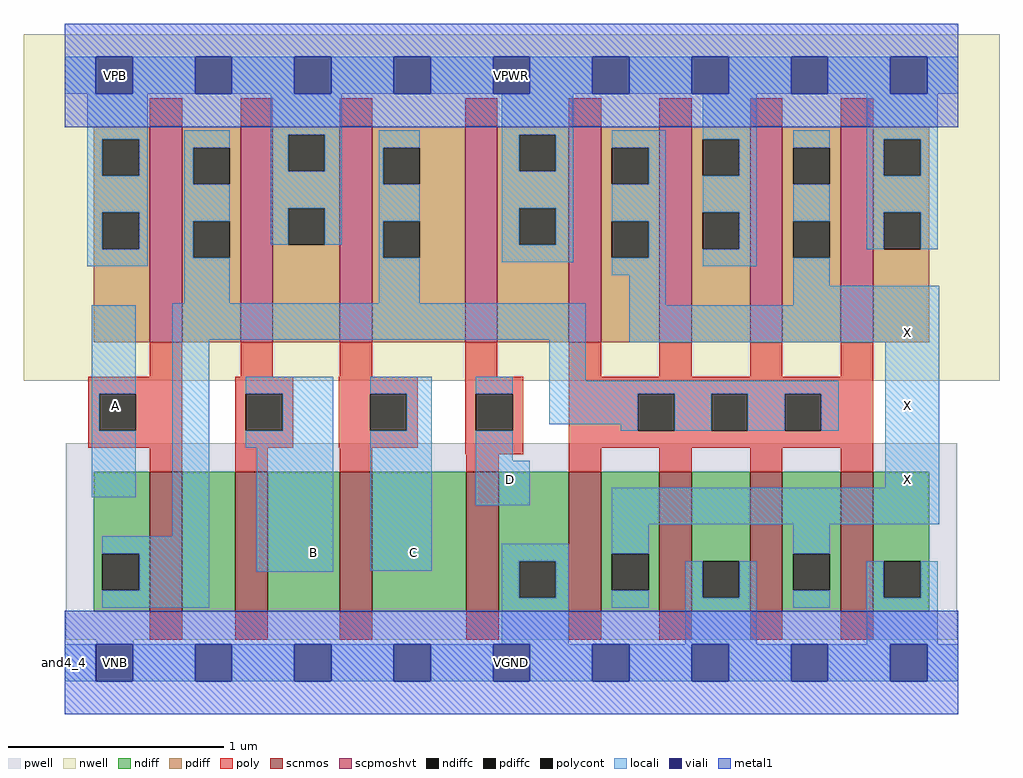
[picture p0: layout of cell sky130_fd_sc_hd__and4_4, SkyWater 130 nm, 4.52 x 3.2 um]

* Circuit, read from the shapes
.subckt sky130_fd_sc_hd__and4_4 A B C D VGND VNB VPB VPWR X
XM1 n1 A n2 VNB sky130_fd_pr__nfet_01v8 w=0.65 l=0.15
XM2 n3 B n1 VNB sky130_fd_pr__nfet_01v8 w=0.65 l=0.15
XM3 n4 C n3 VNB sky130_fd_pr__nfet_01v8 w=0.65 l=0.15
XM4 VGND D n4 VNB sky130_fd_pr__nfet_01v8 w=0.65 l=0.15
XM5 X n2 VGND VNB sky130_fd_pr__nfet_01v8 w=0.65 l=0.15 m=4
XM6 n2 A VPWR VPB sky130_fd_pr__pfet_01v8_hvt w=1 l=0.15
XM7 VPWR B n2 VPB sky130_fd_pr__pfet_01v8_hvt w=1 l=0.15
XM8 n2 C VPWR VPB sky130_fd_pr__pfet_01v8_hvt w=1 l=0.15
XM9 VPWR D n2 VPB sky130_fd_pr__pfet_01v8_hvt w=1 l=0.15
XM10 X n2 VPWR VPB sky130_fd_pr__pfet_01v8_hvt w=1 l=0.15 m=4
.ends

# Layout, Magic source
magic
tech sky130B
magscale 1 2
<< nwell >>
rect -38 261 866 582
<< pwell >>
rect 1 21 827 203
rect 30 -17 64 21
<< scnmos >>
rect 79 47 109 177
rect 158 47 188 177
rect 255 47 285 177
rect 372 47 402 177
rect 467 47 497 177
rect 551 47 581 177
rect 635 47 665 177
rect 719 47 749 177
<< scpmoshvt >>
rect 79 297 109 497
rect 163 297 193 497
rect 255 297 285 497
rect 371 297 401 497
rect 467 297 497 497
rect 551 297 581 497
rect 635 297 665 497
rect 719 297 749 497
<< ndiff >>
rect 27 101 79 177
rect 27 67 35 101
rect 69 67 79 101
rect 27 47 79 67
rect 109 47 158 177
rect 188 47 255 177
rect 285 47 372 177
rect 402 94 467 177
rect 402 60 421 94
rect 455 60 467 94
rect 402 47 467 60
rect 497 101 551 177
rect 497 67 507 101
rect 541 67 551 101
rect 497 47 551 67
rect 581 94 635 177
rect 581 60 591 94
rect 625 60 635 94
rect 581 47 635 60
rect 665 101 719 177
rect 665 67 675 101
rect 709 67 719 101
rect 665 47 719 67
rect 749 94 801 177
rect 749 60 759 94
rect 793 60 801 94
rect 749 47 801 60
<< pdiff >>
rect 27 485 79 497
rect 27 451 35 485
rect 69 451 79 485
rect 27 417 79 451
rect 27 383 35 417
rect 69 383 79 417
rect 27 297 79 383
rect 109 477 163 497
rect 109 443 119 477
rect 153 443 163 477
rect 109 409 163 443
rect 109 375 119 409
rect 153 375 163 409
rect 109 297 163 375
rect 193 489 255 497
rect 193 455 207 489
rect 241 455 255 489
rect 193 421 255 455
rect 193 387 207 421
rect 241 387 255 421
rect 193 297 255 387
rect 285 477 371 497
rect 285 443 295 477
rect 329 443 371 477
rect 285 409 371 443
rect 285 375 295 409
rect 329 375 371 409
rect 285 297 371 375
rect 401 489 467 497
rect 401 455 421 489
rect 455 455 467 489
rect 401 421 467 455
rect 401 387 421 421
rect 455 387 467 421
rect 401 297 467 387
rect 497 477 551 497
rect 497 443 507 477
rect 541 443 551 477
rect 497 409 551 443
rect 497 375 507 409
rect 541 375 551 409
rect 497 297 551 375
rect 581 485 635 497
rect 581 451 591 485
rect 625 451 635 485
rect 581 417 635 451
rect 581 383 591 417
rect 625 383 635 417
rect 581 297 635 383
rect 665 477 719 497
rect 665 443 675 477
rect 709 443 719 477
rect 665 409 719 443
rect 665 375 675 409
rect 709 375 719 409
rect 665 297 719 375
rect 749 485 801 497
rect 749 451 759 485
rect 793 451 801 485
rect 749 417 801 451
rect 749 383 759 417
rect 793 383 801 417
rect 749 297 801 383
<< ndiffc >>
rect 35 67 69 101
rect 421 60 455 94
rect 507 67 541 101
rect 591 60 625 94
rect 675 67 709 101
rect 759 60 793 94
<< pdiffc >>
rect 35 451 69 485
rect 35 383 69 417
rect 119 443 153 477
rect 119 375 153 409
rect 207 455 241 489
rect 207 387 241 421
rect 295 443 329 477
rect 295 375 329 409
rect 421 455 455 489
rect 421 387 455 421
rect 507 443 541 477
rect 507 375 541 409
rect 591 451 625 485
rect 591 383 625 417
rect 675 443 709 477
rect 675 375 709 409
rect 759 451 793 485
rect 759 383 793 417
<< poly >>
rect 79 497 109 523
rect 163 497 193 523
rect 255 497 285 523
rect 371 497 401 523
rect 467 497 497 523
rect 551 497 581 523
rect 635 497 665 523
rect 719 497 749 523
rect 79 265 109 297
rect 163 265 193 297
rect 255 265 285 297
rect 371 265 401 297
rect 467 265 497 297
rect 551 265 581 297
rect 635 265 665 297
rect 719 265 749 297
rect 22 249 109 265
rect 22 215 32 249
rect 66 215 109 249
rect 22 199 109 215
rect 79 177 109 199
rect 158 249 212 265
rect 158 215 168 249
rect 202 215 212 249
rect 158 199 212 215
rect 254 249 327 265
rect 254 215 283 249
rect 317 215 327 249
rect 254 199 327 215
rect 371 249 425 265
rect 371 215 381 249
rect 415 215 425 249
rect 158 177 188 199
rect 255 177 285 199
rect 371 193 425 215
rect 467 249 749 265
rect 467 215 531 249
rect 565 215 599 249
rect 633 215 667 249
rect 701 215 749 249
rect 467 199 749 215
rect 372 177 402 193
rect 467 177 497 199
rect 551 177 581 199
rect 635 177 665 199
rect 719 177 749 199
rect 79 21 109 47
rect 158 21 188 47
rect 255 21 285 47
rect 372 21 402 47
rect 467 21 497 47
rect 551 21 581 47
rect 635 21 665 47
rect 719 21 749 47
<< polycont >>
rect 32 215 66 249
rect 168 215 202 249
rect 283 215 317 249
rect 381 215 415 249
rect 531 215 565 249
rect 599 215 633 249
rect 667 215 701 249
<< locali >>
rect 0 527 29 561
rect 63 527 121 561
rect 155 527 213 561
rect 247 527 305 561
rect 339 527 397 561
rect 431 527 489 561
rect 523 527 581 561
rect 615 527 673 561
rect 707 527 765 561
rect 799 527 828 561
rect 21 485 77 527
rect 21 451 35 485
rect 69 451 77 485
rect 21 417 77 451
rect 21 383 35 417
rect 69 383 77 417
rect 21 367 77 383
rect 111 477 153 493
rect 111 443 119 477
rect 111 409 153 443
rect 111 375 119 409
rect 191 489 257 527
rect 191 455 207 489
rect 241 455 257 489
rect 191 421 257 455
rect 191 387 207 421
rect 241 387 257 421
rect 291 477 329 493
rect 291 443 295 477
rect 291 409 329 443
rect 111 333 153 375
rect 291 375 295 409
rect 291 333 329 375
rect 405 489 471 527
rect 405 455 421 489
rect 455 455 471 489
rect 405 421 471 455
rect 405 387 421 421
rect 455 387 471 421
rect 405 371 471 387
rect 507 477 557 493
rect 541 443 557 477
rect 507 409 557 443
rect 541 375 557 409
rect 507 359 557 375
rect 591 485 641 527
rect 625 451 641 485
rect 591 417 641 451
rect 625 383 641 417
rect 591 367 641 383
rect 675 477 709 493
rect 675 409 709 443
rect 743 485 809 527
rect 743 451 759 485
rect 793 451 809 485
rect 743 417 809 451
rect 743 383 759 417
rect 793 383 809 417
rect 25 249 66 331
rect 25 215 32 249
rect 25 153 66 215
rect 100 299 483 333
rect 100 117 134 299
rect 168 249 249 265
rect 202 215 249 249
rect 168 199 249 215
rect 35 101 134 117
rect 69 67 134 101
rect 178 84 249 199
rect 283 249 340 265
rect 317 215 340 249
rect 283 85 340 215
rect 381 249 415 265
rect 449 261 483 299
rect 523 331 557 359
rect 675 349 709 375
rect 675 331 810 349
rect 523 297 810 331
rect 449 249 717 261
rect 449 221 531 249
rect 515 215 531 221
rect 565 215 599 249
rect 633 215 667 249
rect 701 215 717 249
rect 381 187 415 215
rect 381 146 431 187
rect 760 162 810 297
rect 507 128 810 162
rect 405 94 467 110
rect 35 51 134 67
rect 405 60 421 94
rect 455 60 467 94
rect 405 17 467 60
rect 507 101 541 128
rect 675 101 709 128
rect 507 51 541 67
rect 575 60 591 94
rect 625 60 641 94
rect 575 17 641 60
rect 675 51 709 67
rect 743 60 759 94
rect 793 60 809 94
rect 743 17 809 60
rect 0 -17 29 17
rect 63 -17 121 17
rect 155 -17 213 17
rect 247 -17 305 17
rect 339 -17 397 17
rect 431 -17 489 17
rect 523 -17 581 17
rect 615 -17 673 17
rect 707 -17 765 17
rect 799 -17 828 17
<< viali >>
rect 29 527 63 561
rect 121 527 155 561
rect 213 527 247 561
rect 305 527 339 561
rect 397 527 431 561
rect 489 527 523 561
rect 581 527 615 561
rect 673 527 707 561
rect 765 527 799 561
rect 29 -17 63 17
rect 121 -17 155 17
rect 213 -17 247 17
rect 305 -17 339 17
rect 397 -17 431 17
rect 489 -17 523 17
rect 581 -17 615 17
rect 673 -17 707 17
rect 765 -17 799 17
<< metal1 >>
rect 0 561 828 592
rect 0 527 29 561
rect 63 527 121 561
rect 155 527 213 561
rect 247 527 305 561
rect 339 527 397 561
rect 431 527 489 561
rect 523 527 581 561
rect 615 527 673 561
rect 707 527 765 561
rect 799 527 828 561
rect 0 496 828 527
rect 0 17 828 48
rect 0 -17 29 17
rect 63 -17 121 17
rect 155 -17 213 17
rect 247 -17 305 17
rect 339 -17 397 17
rect 431 -17 489 17
rect 523 -17 581 17
rect 615 -17 673 17
rect 707 -17 765 17
rect 799 -17 828 17
rect 0 -48 828 -17
<< labels >>
flabel locali s 764 153 798 187 0 FreeSans 200 0 0 0 X
port 9 nsew signal output
flabel locali s 764 221 798 255 0 FreeSans 200 0 0 0 X
port 9 nsew signal output
flabel locali s 306 85 340 119 0 FreeSans 200 0 0 0 C
port 3 nsew signal input
flabel locali s 30 221 64 255 0 FreeSans 200 0 0 0 A
port 1 nsew signal input
flabel locali s 214 85 248 119 0 FreeSans 200 0 0 0 B
port 2 nsew signal input
flabel locali s 396 153 430 187 0 FreeSans 200 0 0 0 D
port 4 nsew signal input
flabel locali s 764 289 798 323 0 FreeSans 200 0 0 0 X
port 9 nsew signal output
flabel pwell s 30 -17 64 17 0 FreeSans 200 0 0 0 VNB
port 6 nsew ground bidirectional
flabel nwell s 30 527 64 561 0 FreeSans 200 0 0 0 VPB
port 7 nsew power bidirectional
flabel metal1 s 30 -17 64 17 0 FreeSans 200 0 0 0 VGND
port 5 nsew ground bidirectional abutment
flabel metal1 s 30 527 64 561 0 FreeSans 200 0 0 0 VPWR
port 8 nsew power bidirectional abutment
rlabel comment s 0 0 0 0 4 and4_4
rlabel metal1 s 0 -48 828 48 1 VGND
port 5 nsew ground bidirectional abutment
rlabel metal1 s 0 496 828 592 1 VPWR
port 8 nsew power bidirectional abutment
<< properties >>
string FIXED_BBOX 0 0 828 544
string GDS_END 3034890
string GDS_FILE $PDKPATH/libs.ref/sky130_fd_sc_hd/gds/sky130_fd_sc_hd.gds
string GDS_START 3027500
string LEFclass CORE
string LEFsite unithd
string LEFsymmetry X Y R90
string path 0.000 0.000 20.700 0.000 
<< end >>
